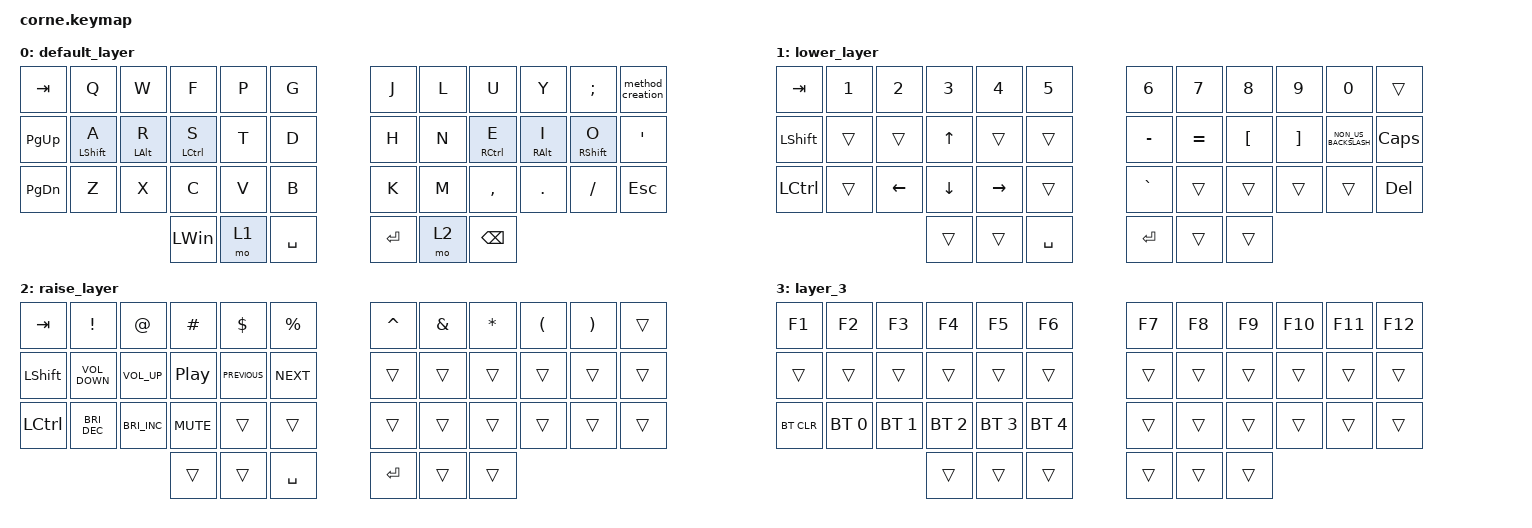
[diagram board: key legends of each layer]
#include <behaviors.dtsi>
#include <dt-bindings/zmk/bt.h>
#include <dt-bindings/zmk/keys.h>

&mt { tapping-term-ms = <400>; };

/ {
    macros {
        method_creation: method_creation {
            compatible = "zmk,behavior-macro";
            #binding-cells = <0>;
            bindings = <&kp LPAR &kp RPAR &kp LEFT_BRACE &kp RET &kp RET &kp RBRC>;
            label = "METHOD_CREATION";
        };
    };

    keymap {
        compatible = "zmk,keymap";

        default_layer {
            // -----------------------------------------------------------------------------------------
            // |  TAB |  Q  |  W  |  F  |  P  |  G  |   |  J  |  L   |  U  |  Y  |  ;  | BKSP |
            // | SHFT |  A  |  R  |  S  |  T  |  D  |   |  H  |  N   |  E  |  I  |  O  |  '   |
            // | CTRL |  Z  |  X  |  C  |  V  |  B  |   |  K  |  M   |  ,  |  .  |  /  | ESC  |
            //                    | GUI | LWR | SPC |   | ENT | RSE  | ALT |

            bindings = <
&kp TAB        &kp Q        &kp W           &kp F         &kp P  &kp G        &kp J    &kp L  &kp U          &kp Y            &kp SEMI     &method_creation
&kp PAGE_UP    &mt LSHFT A  &mt LEFT_ALT R  &mt LCTRL S   &kp T  &kp D        &kp H    &kp N  &mt RCTRL E    &mt RIGHT_ALT I  &mt RSHFT O  &kp SQT
&kp PAGE_DOWN  &kp Z        &kp X           &kp C         &kp V  &kp B        &kp K    &kp M  &kp COMMA      &kp DOT          &kp FSLH     &kp ESC
                                            &kp LEFT_WIN  &mo 1  &kp SPACE    &kp RET  &mo 2  &kp BACKSPACE
            >;
        };

        lower_layer {
            // -----------------------------------------------------------------------------------------
            // |  TAB |     |     |     |     |     |   |  1  |  2  |  3  |  \  |     | BSCP |
            // | SHFT |     |     |     |     |     |   |  4  |  5  |  6  |  [  |  ]  | CAPS |
            // | CTRL |     |     |     |     |     |   |  7  |  8  |  9  |  0  |     |  DEL |
            //                    | GUI |     | SPC |   | ENT |     | ALT |

            bindings = <
&kp TAB    &kp NUMBER_1  &kp NUMBER_2    &kp NUMBER_3    &kp NUMBER_4     &kp NUMBER_5    &kp NUMBER_6  &kp NUMBER_7  &kp NUMBER_8      &kp NUMBER_9       &kp NUMBER_0          &trans
&kp LSHFT  &trans        &trans          &kp UP_ARROW    &trans           &trans          &kp MINUS     &kp EQUAL     &kp LEFT_BRACKET  &kp RIGHT_BRACKET  &kp NON_US_BACKSLASH  &kp CAPS
&kp LCTRL  &trans        &kp LEFT_ARROW  &kp DOWN_ARROW  &kp RIGHT_ARROW  &trans          &kp GRAVE     &trans        &trans            &trans             &trans                &kp DEL
                                         &trans          &trans           &kp SPACE       &kp RET       &trans        &trans
            >;
        };

        raise_layer {
            // -----------------------------------------------------------------------------------------
            // |  TAB |  !  |  @  |  #  |  $  |  %  |   |  ^  |  &  |  *  |  (  |  )  | BKSP |
            // | BTCLR| BT1 | BT2 | BT3 | BT4 | BT5 |   |  -  |  =  |  [  |  ]  |  \  |  `   |
            // | SHFT |     |     |     |     |     |   |  _  |  +  |  {  |  }  | "|" |  ~   |
            //                    | GUI |     | SPC |   | ENT |     | ALT |

            bindings = <
&kp TAB     &kp EXCL           &kp AT           &kp HASH          &kp DLLR        &kp PRCNT     &kp CARET  &kp AMPS  &kp ASTRK  &kp LPAR  &kp RPAR  &trans
&kp LSHIFT  &kp C_VOLUME_DOWN  &kp C_VOLUME_UP  &kp C_PLAY_PAUSE  &kp C_PREVIOUS  &kp C_NEXT    &trans     &trans    &trans     &trans    &trans    &trans
&kp LCTRL   &kp C_BRI_DEC      &kp C_BRI_INC    &kp C_MUTE        &trans          &trans        &trans     &trans    &trans     &trans    &trans    &trans
                                                &trans            &trans          &kp SPACE     &kp RET    &trans    &trans
            >;
        };

        layer_3 {
            bindings = <
&kp F1      &kp F2        &kp F3        &kp F4        &kp F5        &kp F6          &kp F7  &kp F8  &kp F9  &kp F10  &kp F11  &kp F12
&trans      &trans        &trans        &trans        &trans        &trans          &trans  &trans  &trans  &trans   &trans   &trans
&bt BT_CLR  &bt BT_SEL 0  &bt BT_SEL 1  &bt BT_SEL 2  &bt BT_SEL 3  &bt BT_SEL 4    &trans  &trans  &trans  &trans   &trans   &trans
                                        &trans        &trans        &trans          &trans  &trans  &trans
            >;
        };
    };

    conditional_layers {
        compatible = "zmk,conditional-layers";

        fourth {
            if-layers = <1 2>;
            then-layer = <3>;
        };
    };
};
